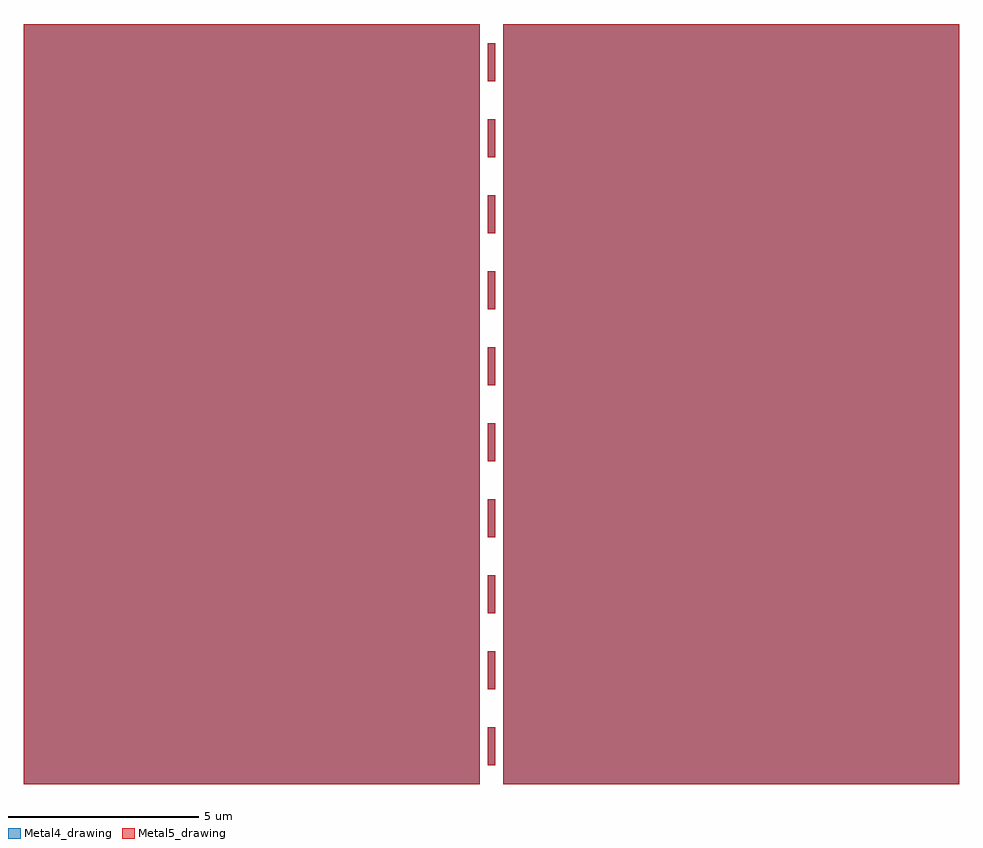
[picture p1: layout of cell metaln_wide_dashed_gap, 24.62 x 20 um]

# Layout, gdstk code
import gdstk
lib = gdstk.Library(unit=1e-6, precision=1e-09)
def R(c, l, rs):  # rectangles x0, y0, x1, y1
    for r in rs: c.add(gdstk.rectangle(r[:2], r[2:], *l))
def A(c, l, x, y, w, h, nx, ny, dx, dy):  # array of equal rectangles
    R(c, l, [(x+i*dx, y+j*dy, x+i*dx+w, y+j*dy+h) for i in range(nx) for j in range(ny)])
Metal4_drawing = (50, 0)
Metal5_drawing = (67, 0)

metaln_wide_dashed_gap = lib.new_cell('metaln_wide_dashed_gap')
A(metaln_wide_dashed_gap, Metal4_drawing, 0.21, 0.5, 0.2, 1, 1, 10, 0, 2)
R(metaln_wide_dashed_gap, Metal4_drawing, [(-12,0,0,20), (0.62,0,12.62,20)])
A(metaln_wide_dashed_gap, Metal5_drawing, 0.21, 0.5, 0.2, 1, 1, 10, 0, 2)
R(metaln_wide_dashed_gap, Metal5_drawing, [(-12,0,0,20), (0.62,0,12.62,20)])
metaln_wide_dashed_gap.add(gdstk.Label('metaln_wide_dashed_gap: 12 | 0.62 | 12 with 0.20 x 1.0 dashes', (0,-1), layer=63, texttype=0))

lib.write_gds('metaln_wide_dashed_gap.gds')
